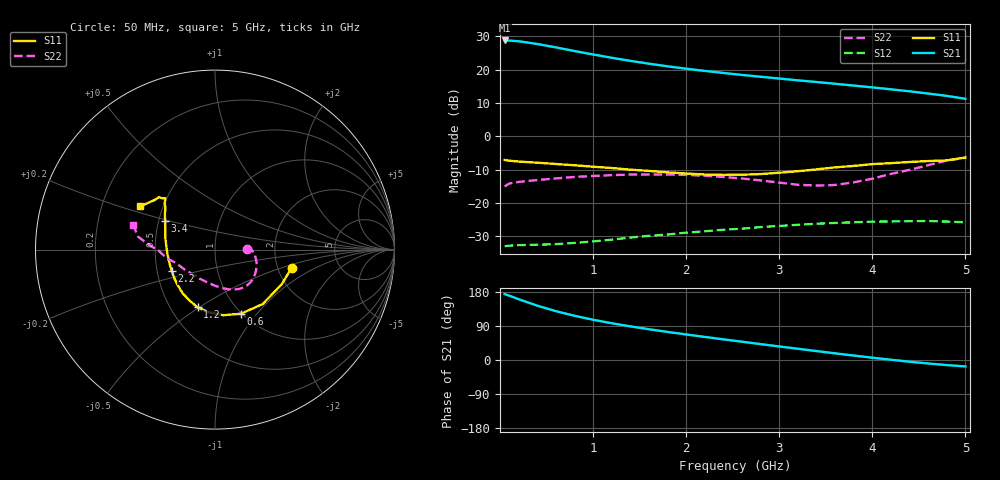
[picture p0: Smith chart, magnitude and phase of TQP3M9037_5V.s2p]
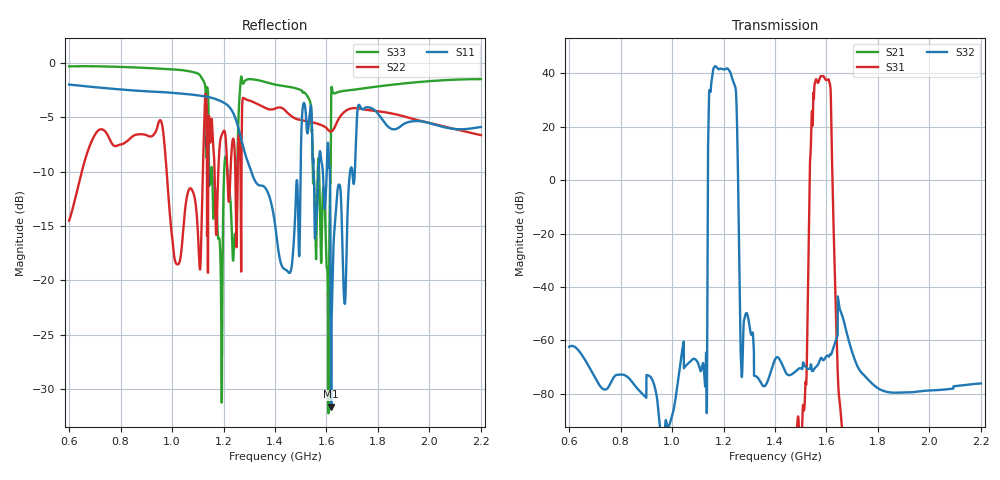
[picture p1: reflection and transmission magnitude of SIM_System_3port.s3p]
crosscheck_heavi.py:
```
"""Independent cross-check of the system S-parameters with heavi (nodal Y-matrix solver).

Run with the repo venv (heavi lives there):  ..\\..\\..\\.venv\\Scripts\\python.exe crosscheck_heavi.py

Builds the same 3-port system as simulate.py, but from the Touchstone files in ../Touchstone
(so it also checks the files) and with heavi's own lumped elements for the bias network, then
compares S31 / S32 / S11 / S22 / S33 against ../Touchstone/SIM_System_3port.s3p.
"""
from pathlib import Path
import json

import numpy as np
import skrf as rf
import heavi as hv
from scipy.interpolate import CubicSpline

ROOT = Path(__file__).resolve().parent.parent
TS = ROOT / "Touchstone"
Z0 = 50.0

f = np.linspace(1.10e9, 1.65e9, 1101)


def sfuncs(net: rf.Network, cubic=False):
    """heavi wants S[i][j] as callables of frequency. Dense files: linear polar interpolation;
    the 200 MHz LNA table: cubic spline on dB / unwrapped phase (same rule as models.tqp_on)."""
    n = net.nports
    out = []
    for i in range(n):
        row = []
        for j in range(n):
            fx = net.f
            mdb = 20 * np.log10(np.abs(net.s[:, i, j]))
            ph = np.unwrap(np.angle(net.s[:, i, j]))
            if cubic:
                cm, cp = CubicSpline(fx, mdb), CubicSpline(fx, ph)
                row.append(lambda ff, cm=cm, cp=cp: 10 ** (cm(ff) / 20) * np.exp(1j * cp(ff)))
            else:
                row.append(lambda ff, mdb=mdb, ph=ph, fx=fx:
                           10 ** (np.interp(ff, fx, mdb) / 20) * np.exp(1j * np.interp(ff, fx, ph)))
        out.append(row)
    return out


def const_s(m):
    return [[(lambda ff, v=v: np.full(np.shape(ff), v, complex)) for v in row] for row in m]


lna = rf.Network(str(TS / "TQP3M9037_5V.s2p"))
hc = rf.Network(str(TS / "HC125A.s4p"))
b7 = rf.Network(str(TS / "B7504.s2p"))
b8 = rf.Network(str(TS / "B8889_matched.s2p"))
dx = rf.Network(str(TS / "DXP02A.s3p"))

a = 1 / np.sqrt(2)
CP = [[0, 0, a, -1j * a], [0, 0, -1j * a, a], [a, -1j * a, 0, 0], [-1j * a, a, 0, 0]]

m = hv.Model()
g = m.gnd


def lna_stage(n_in, n_out):
    """Same parts and parasitics as models.BIAS, built from heavi's own R/L/C elements:
    100 pF (0.25 nH, 0.15 ohm) DC block -> LNA -> 18 nH choke (Q 40 @ 1.4 GHz, 0.12 pF across)
    to a 100 pF (0.4 nH, 0.1 ohm) bypass -> 100 pF DC block."""
    def dc_block(na, nb):
        x1, x2 = m.node(), m.node()
        m.capacitor(na, x1, 100e-12)
        m.inductor(x1, x2, 0.25e-9)
        m.resistor(x2, nb, 0.15)
    a1, a2, a3, a4, a5, a6 = (m.node() for _ in range(6))
    dc_block(n_in, a1)
    m.n_port_S(g, [a1, a2], sfuncs(lna, cubic=True), Z0)
    m.inductor(a2, a3, 18e-9)
    m.resistor(a3, a4, 2 * np.pi * 1.4e9 * 18e-9 / 40)
    m.capacitor(a2, a4, 0.12e-12)
    m.capacitor(a4, a5, 100e-12)
    m.inductor(a5, a6, 0.4e-9)
    m.resistor(a6, g, 0.1)
    dc_block(a2, n_out)


def branch(port_node, saw):
    c1, c2, c3, h1, h2 = (m.node() for _ in range(5))
    m.n_port_S(g, [port_node, c1, c2, c3], const_s(CP), Z0)
    m.resistor(c1, g, Z0)                      # LHCP termination
    m.n_port_S(g, [h1, h2, c2, c3], sfuncs(hc), Z0)
    m.resistor(h2, g, Z0)                      # hybrid isolated port
    s1i, s1o, s2i, s2o = (m.node() for _ in range(4))
    lna_stage(h1, s1i)
    m.n_port_S(g, [s1i, s1o], sfuncs(saw), Z0)
    lna_stage(s1o, s2i)
    m.n_port_S(g, [s2i, s2o], sfuncs(saw), Z0)
    return s2o


n1, n2, n3 = m.node(), m.node(), m.node()
p1 = m.new_port(Z0, n1)
p2 = m.new_port(Z0, n2)
o1 = branch(n1, b7)
o2 = branch(n2, b8)
m.n_port_S(g, [n3, o1, o2], sfuncs(dx), Z0)
p3 = m.new_port(Z0, n3)

S = m.run_sp(f)
ref = rf.Network(str(TS / "SIM_System_3port.s3p")).interpolate(rf.Frequency.from_f(f, unit="Hz"))


def db(x):
    return 20 * np.log10(np.abs(x))


report = {}
for name, hv_s, (i, j) in [("S31", S.S31, (2, 0)), ("S32", S.S32, (2, 1)), ("S11", S.S11, (0, 0)),
                            ("S22", S.S22, (1, 1)), ("S33", S.S33, (2, 2))]:
    d = db(hv_s) - db(ref.s[:, i, j])
    inband = ((f > 1.164e9) & (f < 1.230e9)) | ((f > 1.559e9) & (f < 1.606e9))
    report[name] = dict(max_abs_diff_db_inband=float(np.abs(d[inband]).max()),
                        mean_diff_db_inband=float(d[inband].mean()))
    print(name, report[name])
k = np.argmin(abs(f - 1575.42e6))
print("L1 gain heavi %.2f dB / skrf %.2f dB" % (db(S.S31[k]), db(ref.s[k, 2, 0])))
k5 = np.argmin(abs(f - 1176.45e6))
print("L5 gain heavi %.2f dB / skrf %.2f dB" % (db(S.S32[k5]), db(ref.s[k5, 2, 1])))
report["L1_gain_heavi_db"] = float(db(S.S31[k]))
report["L5_gain_heavi_db"] = float(db(S.S32[k5]))
(ROOT / "Extracted_Data" / "crosscheck_heavi.json").write_text(json.dumps(report, indent=1))
```
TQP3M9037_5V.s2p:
! Project 16: GNSS L1 + L2/L5 active antenna front end (RFMW-ANT)
! Generated by Scripts/simulate.py from Scripts/ds_data.py; format GHz / RI, Z0 = 50 ohm
! EXTRACTED (not estimated): Qorvo TQP3M9037 data sheet, 25 Jul 2017 p.3, VDD=+5 V, IDD=70 mA, 25 C
! Calibrated to the device leads: no DC blocks, no bias choke (add them in the circuit).
! Noise block: measured table p.3 (1.5-2.7 GHz). Below 1.5 GHz see Extracted_Data/assumptions_log.md
# GHz S RI R 50.0
!freq ReS11 ImS11 ReS21 ImS21 ReS12 ImS12 ReS22 ImS22
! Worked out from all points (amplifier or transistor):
!   27 points, 50 MHz to 5 GHz, reference 50 ohm
!   highest |S21| = 28.7 dB at 50 MHz (marker M1)
!   |S21| within 3 dB of that: start of sweep to 769.1 MHz
!   unconditionally stable (mu >= 1): start of sweep to end of sweep
!   at 600 MHz: K = 1.10, MAG = 27.6 dB, |S12| = -32.3 dB
!   at 2.4 GHz: K = 1.37, MAG = 19.8 dB, |S12| = -28.0 dB
!   at 5 GHz: K = 1.46, MAG = 14.5 dB, |S12| = -25.8 dB
!   lowest NFmin = 0.29 dB at 1.7 GHz
!   S11 on the Smith chart (normalised r, x): 50 MHz: 2.40, -0.61; 600 MHz: 0.99, -0.83; 1.2 GHz: 0.68, -0.49; 2.2 GHz: 0.60, -0.15; 3.4 GHz: 0.54, +0.19; 5 GHz: 0.37, +0.23
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0.05  0.4306 -0.1024  -27.2 2.897  0.0224 0.00337  0.1772 0.000619
0.2  0.3727 -0.192  -25.11 8.905  0.0233 0.00232  0.2072 -0.00452
0.4  0.2655 -0.3034  -19.45 14.42  0.0235 0.00364  0.2202 -0.0244
0.6  0.1453 -0.3571  -13.55 16.76  0.0237 0.00494  0.2282 -0.0526
0.8  0.046 -0.3657  -8.538 16.96  0.0245 0.00647  0.2325 -0.0814
1.2  -0.0973 -0.3213  -1.847 14.93  0.027 0.00867  0.2231 -0.1381
1.6  -0.1785 -0.2453  1.88 12.13  0.0304 0.0109  0.1973 -0.1827
2.2  -0.2409 -0.118  4.647 8.356  0.0357 0.0123  0.1353 -0.2189
2.6  -0.2647 -0.0267  5.542 6.215  0.0397 0.0116  0.0757 -0.221
3.4  -0.2783 0.1585  5.98 2.609  0.0485 0.00688  -0.0823 -0.1637
5  -0.4166 0.2412  3.498 -1.063  0.0511 -0.00571  -0.4574 0.139
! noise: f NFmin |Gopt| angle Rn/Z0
1.5  0.4  0.15  14.1  0.0016
1.7  0.29  0.16  43.7  0.0012
1.8  0.3  0.13  55.1  0.0012
1.9  0.3  0.11  30.2  0.0012
2  0.32  0.11  65.3  0.001
2.1  0.32  0.13  77.6  0.001
2.2  0.35  0.14  89  0.001
2.4  0.43  0.06  85.8  0.001
2.5  0.51  0.02  42.1  0.0012
2.7  0.46  0.07  148.6  0.001
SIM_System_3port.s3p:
! Project 16: GNSS L1 + L2/L5 active antenna front end (RFMW-ANT)
! Generated by Scripts/simulate.py from Scripts/ds_data.py; format GHz / RI, Z0 = 50 ohm
! SIMULATED with scikit-rf (Scripts/simulate.py). Port 1 = L1 virtual RHCP input, port 2 =
! L2/L5 virtual RHCP input, port 3 = RF output. LNAs biased, 5 V.
# GHz S RI R 50.0
! Port[1] = P1_L1_RHCP
! Port[2] = P2_L2L5_RHCP
! Port[3] = P3_RF_OUT
!freq ReS11 ImS11 ReS12 ImS12 ReS13 ImS13
! ReS21 ImS21 ReS22 ImS22 ReS23 ImS23
! ReS31 ImS31 ReS32 ImS32 ReS33 ImS33
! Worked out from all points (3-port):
!   3201 points, 600 MHz to 2.2 GHz, reference 50 ohm
!   strongest paths, dB at 600 MHz, 1 GHz, 1.4 GHz, 1.8 GHz, 2.2 GHz:
!     S32: -62.4, -88.3, -67.2, -77.9, -76.1
!     S31: -128.5, -120.8, -116.4, -113.4, -95.1
!     S21: -, -, -, -, -
!   lowest |S11| = -31.6 dB at 1.619 GHz (marker M1), VSWR 1.05, Z = 52 + j1.76 ohm
!   |S11| at or under -10 dB: 1.308 GHz to 1.499 GHz (191.7 MHz wide, 13.7 % of centre); 1.55 GHz to 1.569 GHz (19.36 MHz wide, 1.24 % of centre); 1.613 GHz to 1.692 GHz (78.86 MHz wide, 4.77 % of centre)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
0.6  0.6687 0.4285  -7.81e-14 9.62e-14  -3.05e-13 -3.65e-13
     -7.81e-14 9.62e-14  -0.146 0.1185  -6.83e-10 -6.76e-10
     -9.4e-08 3.65e-07  -0.00012 0.00075  -0.025 0.9628
1.1775  0.1441 -0.6602  1.54e-10 9.05e-11  -3.9e-13 1.28e-13
        1.54e-10 9.05e-11  0.1337 -0.2277  8.42e-05 -0.000413
        9.58e-08 -7.37e-08  16.85 122.7  -0.0803 0.1431
1.1975  0.1387 -0.6444  -6.6e-12 -9.44e-11  -4.03e-13 9.22e-14
        -6.6e-12 -9.44e-11  0.036 -0.4775  -0.000139 0.000398
        9.7e-08 -6.6e-08  -4.282 -119.6  -0.1379 0.0881
1.6185  0.0201 0.0169  2.38e-08 3.41e-09  -6.04e-05 9.23e-05
        2.38e-08 3.41e-09  -0.386 -0.291  3.91e-09 -1.09e-10
        -6.622 -14.01  -0.000274 0.000476  0.65 0.2432
2.2  -0.1527 0.4833  1.48e-12 3.25e-13  2.74e-10 -3.24e-11
     1.48e-12 3.25e-13  -0.1833 0.4276  2.44e-09 -2.14e-10
     3.96e-06 1.72e-05  3.06e-05 0.000154  -0.4405 0.7172
